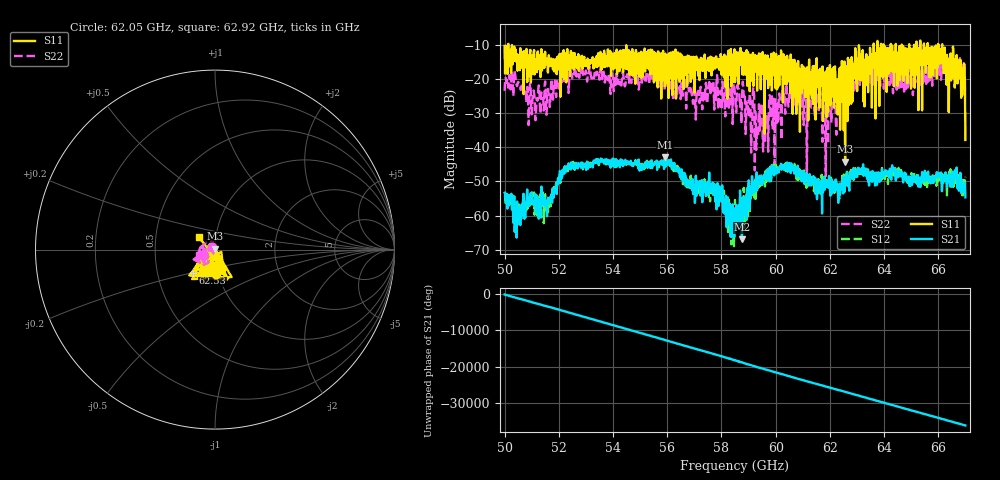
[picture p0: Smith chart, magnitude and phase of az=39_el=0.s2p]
!Created with skrf (http://scikit-rf.org).
# GHz S RI R 50.0
!freq ReS11 ImS11 ReS21 ImS21 ReS12 ImS12 ReS22 ImS22
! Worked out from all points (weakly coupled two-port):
!   1001 points, 50 GHz to 67 GHz, reference 50 ohm
!   highest |S21| = -42.98 dB at 55.92 GHz (marker M1); lowest = -66.9 dB at 58.76 GHz (marker M2)
!   lowest |S11| = -44.2 dB at 62.56 GHz (marker M3), VSWR 1.01, Z = 49.8 + j0.58 ohm
!   |S11| at or under -10 dB: 50.14 GHz to 63.62 GHz (13.48 GHz wide, 23.7 % of centre); 65.61 GHz to 66 GHz (389.2 MHz wide, 0.592 % of centre); 66.15 GHz to end of sweep (the widest 3 of 16)
!   |S22| runs from -50.1 to -13.9 dB; largest |S21 - S12| = 0.0022
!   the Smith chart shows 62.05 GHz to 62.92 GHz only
!   S11 on the Smith chart (normalised r, x): 62.05 GHz: 0.98, -0.27; 62.53 GHz: 0.76, -0.20; 62.92 GHz: 0.83, +0.12
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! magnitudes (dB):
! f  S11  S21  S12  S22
! 50 GHz  -10.4  -53.3  -54.5  -23.5
! 50.46 GHz  -14.3  -55.9  -57.9  -22.2
! 51.07 GHz  -12.4  -56.9  -53.8  -23.4
! 51.62 GHz  -15.7  -55.5  -56.9  -24.1
! 52.18 GHz  -11.6  -47.5  -47.6  -20.2
! 52.84 GHz  -14.5  -45.9  -46.2  -19.1
! 55.68 GHz  -13.7  -45.0  -45.1  -22.4
! 55.92 GHz  -22.2  -43.0  -43.8  -22.2
! 57.85 GHz  -14.7  -50.5  -51.0  -20.2
! 58.5 GHz  -21.0  -57.8  -55.5  -24.6
! 58.76 GHz  -12.2  -66.9  -54.9  -27.0
! 59.32 GHz  -23.4  -51.4  -52.6  -36.4
! 60.64 GHz  -14.5  -46.8  -46.7  -22.0
! 61.34 GHz  -25.7  -49.3  -48.7  -24.2
! 62.05 GHz  -17.2  -50.1  -51.4  -32.8
! 62.53 GHz  -14.9  -51.1  -50.8  -19.2
! 62.56 GHz  -44.2  -49.4  -49.7  -18.8
! 62.92 GHz  -18.9  -47.2  -48.0  -20.7
! 64.18 GHz  -18.5  -47.1  -47.4  -18.6
! 66.08 GHz  -15.5  -48.5  -48.9  -16.1
! 66.9 GHz  -16.9  -51.1  -54.1  -15.4
! 67 GHz  -37.9  -54.7  -48.6  -15.8
